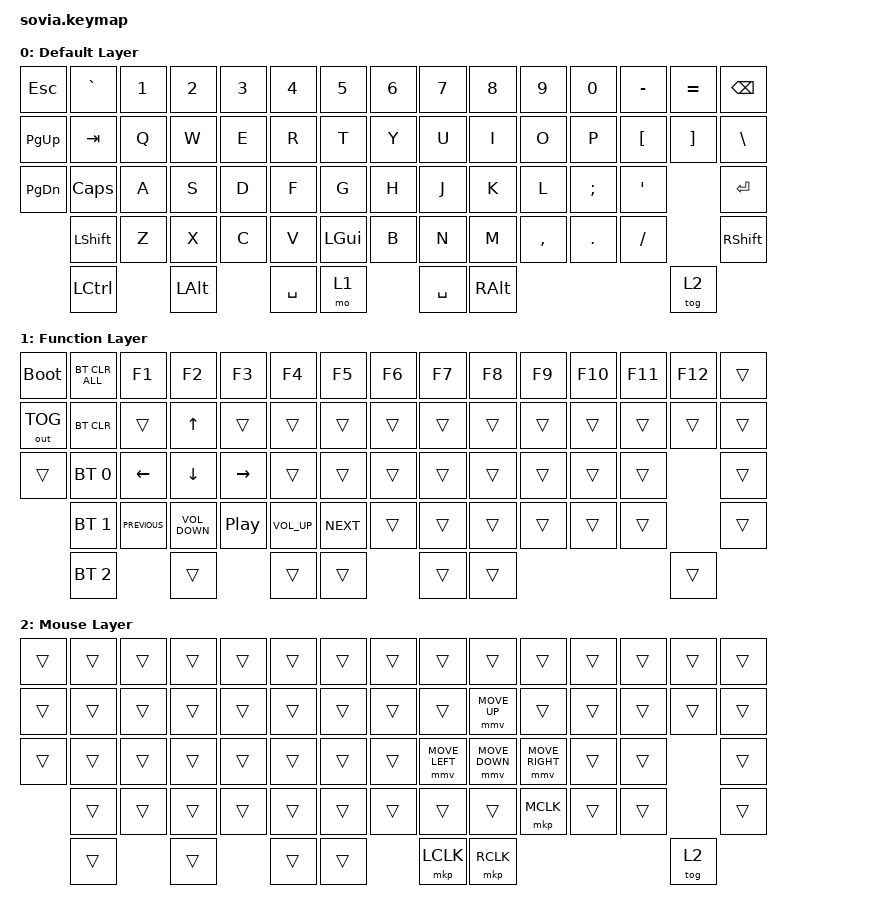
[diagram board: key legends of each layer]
/*
 * Copyright (c) 2021 The ZMK Contributors
 *
 * SPDX-License-Identifier: MIT
 */

#include <behaviors.dtsi>
#include <dt-bindings/zmk/keys.h>
#include <dt-bindings/zmk/bt.h>
#include <dt-bindings/zmk/outputs.h>
#include <dt-bindings/zmk/pointing.h>

/{
        keymap {
                compatible = "zmk,keymap";

                default_layer {
                        display-name = "Default Layer";

                        bindings = <
   &kp ESC         &kp GRAVE    &kp N1       &kp N2       &kp N3       &kp N4       &kp N5       &kp N6       &kp N7       &kp N8       &kp N9       &kp N0       &kp MINUS    &kp EQUAL    &kp BSPC
   &kp PAGE_UP     &kp TAB      &kp Q        &kp W        &kp E        &kp R        &kp T        &kp Y        &kp U        &kp I        &kp O        &kp P        &kp LBKT     &kp RBKT     &kp BSLH
   &kp PAGE_DOWN   &kp CAPS     &kp A        &kp S        &kp D        &kp F        &kp G        &kp H        &kp J        &kp K        &kp L        &kp SEMI     &kp SQT                   &kp ENTER
                   &kp LSHFT    &kp Z        &kp X        &kp C        &kp V        &kp LGUI     &kp B        &kp N        &kp M        &kp COMMA    &kp DOT      &kp SLASH                 &kp RSHFT
                   &kp LCTRL                 &kp LALT                  &kp SPACE    &mo 1                     &kp SPACE    &kp RALT                                            &tog 2 
                   >;
                };

                function_layer {
                        display-name = "Function Layer";

                        bindings = <
   &bootloader     &bt BT_CLR_ALL &kp F1           &kp F2             &kp F3             &kp F4           &kp F5       &kp F6       &kp F7       &kp F8       &kp F9       &kp F10      &kp F11      &kp F12      &trans
   &out OUT_TOG    &bt BT_CLR     &trans           &kp UP             &trans            &trans            &trans       &trans       &trans       &trans       &trans       &trans       &trans       &trans       &trans
   &trans          &bt BT_SEL 0   &kp LEFT         &kp DOWN           &kp RIGHT          &trans           &trans       &trans       &trans       &trans       &trans       &trans       &trans                    &trans
                   &bt BT_SEL 1   &kp C_PREVIOUS   &kp C_VOLUME_DOWN  &kp C_PLAY_PAUSE   &kp C_VOLUME_UP  &kp C_NEXT   &trans       &trans       &trans       &trans       &trans       &trans                    &trans
                   &bt BT_SEL 2                    &trans                                &trans           &trans                    &trans       &trans                                              &trans
                   >;
                };

                mouse_layer {
                        display-name = "Mouse Layer";

                        bindings = <
   &trans          &trans         &trans           &trans             &trans             &trans           &trans       &trans       &trans              &trans               &trans           &trans       &trans       &trans      &trans
   &trans          &trans         &trans           &trans             &trans             &trans           &trans       &trans       &trans              &mmv MOVE_UP         &trans           &trans       &trans       &trans       &trans
   &trans          &trans         &trans           &trans             &trans             &trans           &trans       &trans       &mmv MOVE_LEFT      &mmv MOVE_DOWN       &mmv MOVE_RIGHT  &trans       &trans                    &trans
                   &trans         &trans           &trans             &trans             &trans           &trans       &trans       &trans              &trans               &mkp MCLK        &trans       &trans                    &trans
                   &trans                          &trans                                &trans           &trans                    &mkp LCLK           &mkp RCLK                                          &tog 2
                   >;
                };
        };

};
